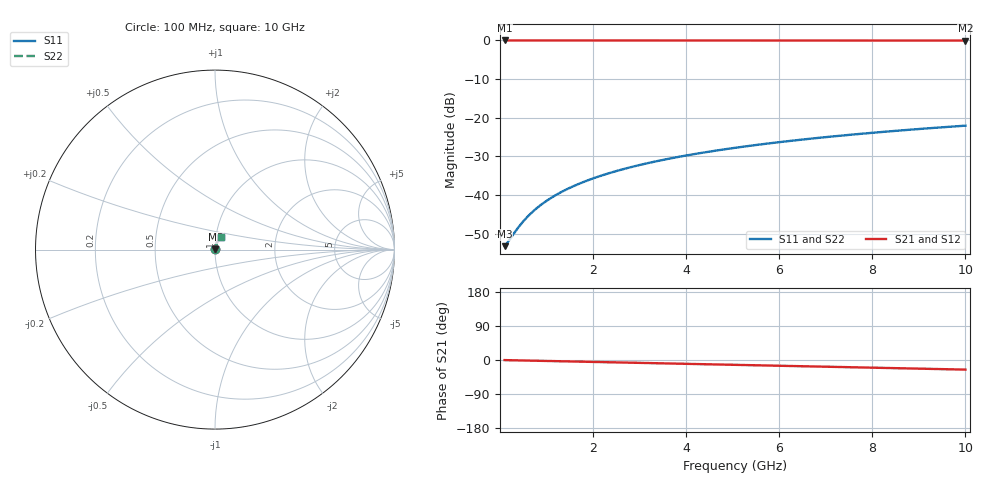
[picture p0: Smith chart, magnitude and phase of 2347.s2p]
# Hz S RI R 50.00
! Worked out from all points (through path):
!   100 points, 100 MHz to 10 GHz, reference 50 ohm
!   highest |S21| = -0.02 dB at 100 MHz (marker M1); lowest = 0.0 dB at 10 GHz (marker M2)
!   group delay of S21, straight-line fit = 7.04 ps
!   lowest |S11| = -53.3 dB at 100 MHz (marker M3), VSWR 1.00, Z = 50.2 + j0.0807 ohm
!   |S11| at or under -10 dB: start of sweep to end of sweep
!   |S22| runs from -53.3 to -22.1 dB; largest |S21 - S12| = 0
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1e8  0.00202 0.000804  0.998 -0.0044  0.998 -0.0044  0.00202 0.000804
2e8  0.00204 0.00161  0.9979 -0.00879  0.9979 -0.00879  0.00204 0.00161
4e8  0.0021 0.00321  0.9978 -0.0176  0.9978 -0.0176  0.0021 0.00321
5e8  0.00214 0.00402  0.9977 -0.022  0.9977 -0.022  0.00214 0.00402
6e8  0.00218 0.00482  0.9976 -0.0264  0.9976 -0.0264  0.00218 0.00482
7e8  0.00223 0.00562  0.9974 -0.0308  0.9974 -0.0308  0.00223 0.00562
8e8  0.00229 0.00642  0.9973 -0.0352  0.9973 -0.0352  0.00229 0.00642
1e9  0.00242 0.00803  0.9969 -0.0439  0.9969 -0.0439  0.00242 0.00803
1.2e9  0.00258 0.00962  0.9964 -0.0527  0.9964 -0.0527  0.00258 0.00962
1.5e9  0.00287 0.012  0.9956 -0.0659  0.9956 -0.0659  0.00287 0.012
1.8e9  0.00323 0.0144  0.9946 -0.079  0.9946 -0.079  0.00323 0.0144
2.1e9  0.00365 0.0168  0.9934 -0.0922  0.9934 -0.0922  0.00365 0.0168
2.5e9  0.0043 0.0199  0.9916 -0.1097  0.9916 -0.1097  0.0043 0.0199
2.9e9  0.00507 0.023  0.9894 -0.1272  0.9894 -0.1272  0.00507 0.023
3.4e9  0.00617 0.0269  0.9862 -0.149  0.9862 -0.149  0.00617 0.0269
4.2e9  0.0083 0.0329  0.9801 -0.1837  0.9801 -0.1837  0.0083 0.0329
5.1e9  0.0112 0.0396  0.9717 -0.2225  0.9717 -0.2225  0.0112 0.0396
5.9e9  0.0142 0.0452  0.963 -0.2566  0.963 -0.2566  0.0142 0.0452
6.7e9  0.0176 0.0507  0.9529 -0.2905  0.9529 -0.2905  0.0176 0.0507
7.5e9  0.0214 0.0559  0.9417 -0.324  0.9417 -0.324  0.0214 0.0559
8.4e9  0.0261 0.0614  0.9275 -0.3612  0.9275 -0.3612  0.0261 0.0614
1e10  0.0356 0.0703  0.8987 -0.4258  0.8987 -0.4258  0.0356 0.0703
